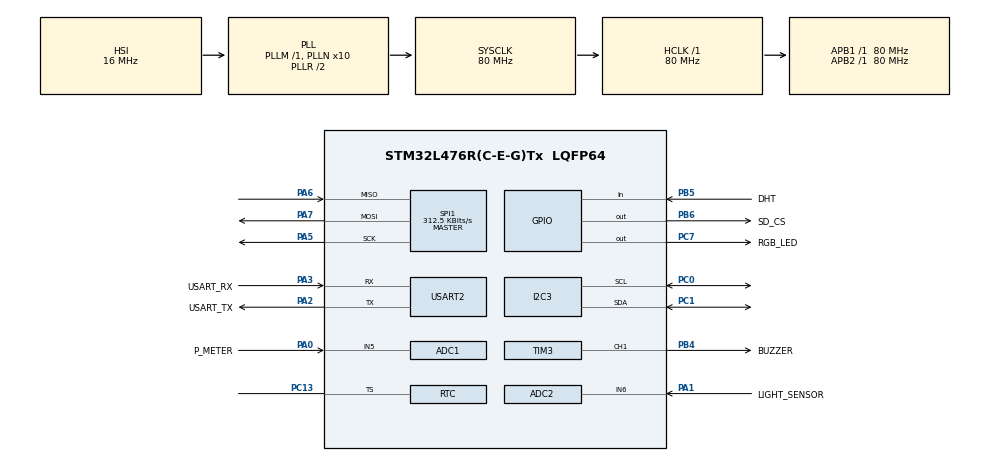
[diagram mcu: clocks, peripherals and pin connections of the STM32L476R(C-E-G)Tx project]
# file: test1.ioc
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ADC1.Channel-0\#ChannelRegularConversion=ADC_CHANNEL_5
ADC1.NbrOfConversionFlag=1
ADC1.OffsetNumber-0\#ChannelRegularConversion=ADC_OFFSET_NONE
ADC1.Rank-0\#ChannelRegularConversion=1
ADC1.SamplingTime-0\#ChannelRegularConversion=ADC_SAMPLETIME_2CYCLES_5
ADC1.master=1
ADC2.Channel-0\#ChannelRegularConversion=ADC_CHANNEL_6
ADC2.NbrOfConversionFlag=1
ADC2.OffsetNumber-0\#ChannelRegularConversion=ADC_OFFSET_NONE
ADC2.Rank-0\#ChannelRegularConversion=1
ADC2.Resolution=ADC_RESOLUTION_8B
ADC2.SamplingTime-0\#ChannelRegularConversion=ADC_SAMPLETIME_2CYCLES_5
Dma.MEMTOMEM.0.Direction=DMA_MEMORY_TO_MEMORY
Dma.MEMTOMEM.0.Instance=DMA1_Channel1
Dma.MEMTOMEM.0.MemDataAlignment=DMA_MDATAALIGN_WORD
Dma.MEMTOMEM.0.MemInc=DMA_MINC_ENABLE
Dma.MEMTOMEM.0.Mode=DMA_NORMAL
Dma.MEMTOMEM.0.PeriphDataAlignment=DMA_PDATAALIGN_WORD
Dma.MEMTOMEM.0.PeriphInc=DMA_PINC_ENABLE
Dma.MEMTOMEM.0.Priority=DMA_PRIORITY_LOW
Dma.Request0=MEMTOMEM
FREERTOS.Queues01=myQueue01,16,uint16_t,0,Dynamic,NULL,NULL
FREERTOS.Tasks01=defaultTask,24,128,StartDefaultTask,Default,NULL,Dynamic,NULL,NULL;DHTask,40,512,StartDHT,Default,NULL,Dynamic,NULL,NULL;saveTask,24,512,StartSave,Default,NULL,Dynamic,NULL,NULL
FREERTOS.configTOTAL_HEAP_SIZE=6000
I2C3.Timing=0x10D19CE4
Mcu.Family=STM32L4
Mcu.Name=STM32L476R(C-E-G)Tx
Mcu.Package=LQFP64
NVIC.ADC1_2_IRQn=true\:5\:0\:false\:false\:true\:true\:true\:true\:true
NVIC.PriorityGroup=NVIC_PRIORITYGROUP_4
NVIC.TIM1_UP_TIM16_IRQn=true\:5\:0\:false\:false\:true\:true\:true\:true\:true
NVIC.TIM6_DAC_IRQn=true\:5\:0\:false\:false\:true\:true\:true\:true\:true
NVIC.TIM7_IRQn=true\:5\:0\:false\:false\:true\:true\:true\:true\:true
NVIC.USART2_IRQn=true\:5\:0\:false\:false\:true\:true\:true\:true\:true
PA0.GPIO_Label=P_METER
PA0.Signal=ADCx_IN5
PA1.GPIO_Label=LIGHT_SENSOR
PA1.Signal=ADCx_IN6
PA13\ (JTMS-SWDIO).GPIO_Label=TMS
PA13\ (JTMS-SWDIO).Mode=Serial_Wire
PA13\ (JTMS-SWDIO).Signal=SYS_JTMS-SWDIO
PA14\ (JTCK-SWCLK).GPIO_Label=TCK
PA14\ (JTCK-SWCLK).Mode=Serial_Wire
PA14\ (JTCK-SWCLK).Signal=SYS_JTCK-SWCLK
PA2.GPIO_Label=USART_TX
PA2.GPIO_Mode=GPIO_MODE_AF_PP
PA2.GPIO_PuPd=GPIO_NOPULL
PA2.GPIO_Speed=GPIO_SPEED_FREQ_VERY_HIGH
PA2.Mode=Asynchronous
PA2.Signal=USART2_TX
PA3.GPIO_Label=USART_RX
PA3.GPIO_Mode=GPIO_MODE_AF_PP
PA3.GPIO_PuPd=GPIO_NOPULL
PA3.GPIO_Speed=GPIO_SPEED_FREQ_VERY_HIGH
PA3.Mode=Asynchronous
PA3.Signal=USART2_RX
PA5.Mode=Full_Duplex_Master
PA5.Signal=SPI1_SCK
PA6.GPIO_PuPd=GPIO_PULLUP
PA6.Mode=Full_Duplex_Master
PA6.Signal=SPI1_MISO
PA7.Mode=Full_Duplex_Master
PA7.Signal=SPI1_MOSI
PB4\ (NJTRST).GPIO_Label=BUZZER
PB4\ (NJTRST).Signal=S_TIM3_CH1
PB5.GPIO_Label=DHT
PB5.Signal=GPIO_Input
PB6.GPIO_Label=SD_CS
PB6.GPIO_PuPd=GPIO_NOPULL
PB6.PinState=GPIO_PIN_SET
PB6.Signal=GPIO_Output
PC0.Mode=I2C
PC0.Signal=I2C3_SCL
PC1.Mode=I2C
PC1.Signal=I2C3_SDA
PC13.Mode=Timestamp enabled
PC13.Signal=RTC_TS
PC14-OSC32_IN\ (PC14).Mode=LSE-External-Oscillator
PC14-OSC32_IN\ (PC14).Signal=RCC_OSC32_IN
PC15-OSC32_OUT\ (PC15).Mode=LSE-External-Oscillator
PC15-OSC32_OUT\ (PC15).Signal=RCC_OSC32_OUT
PC7.GPIO_Label=RGB_LED
PC7.Signal=GPIO_Output
PH0-OSC_IN\ (PH0).Signal=RCC_OSC_IN
PH1-OSC_OUT\ (PH1).Signal=RCC_OSC_OUT
ProjectManager.HeapSize=0x200
ProjectManager.StackSize=0x400
ProjectManager.TargetToolchain=STM32CubeIDE
RCC.ADCFreq_Value=64000000
RCC.AHBFreq_Value=80000000
RCC.APB1Freq_Value=80000000
RCC.APB1TimFreq_Value=80000000
RCC.APB2Freq_Value=80000000
RCC.APB2TimFreq_Value=80000000
RCC.CortexFreq_Value=80000000
RCC.HCLKFreq_Value=80000000
RCC.HSE_VALUE=8000000
RCC.HSI_VALUE=16000000
RCC.MSI_VALUE=4000000
RCC.PLLN=10
RCC.PLLSourceVirtual=RCC_PLLSOURCE_HSI
RCC.PREFETCH_ENABLE=1
RCC.SYSCLKFreq_VALUE=80000000
RCC.SYSCLKSource=RCC_SYSCLKSOURCE_PLLCLK
RCC.USBFreq_Value=64000000
RCC.VCOOutputFreq_Value=160000000
SH.ADCx_IN5.0=ADC1_IN5,IN5-Single-Ended
SH.ADCx_IN6.0=ADC2_IN6,IN6-Single-Ended
SH.S_TIM3_CH1.0=TIM3_CH1,PWM Generation1 CH1
SPI1.BaudRatePrescaler=SPI_BAUDRATEPRESCALER_256
SPI1.CalculateBaudRate=312.5 KBits/s
SPI1.DataSize=SPI_DATASIZE_8BIT
SPI1.Direction=SPI_DIRECTION_2LINES
SPI1.Mode=SPI_MODE_MASTER
SPI1.VirtualType=VM_MASTER
TIM16.AutoReloadPreload=TIM_AUTORELOAD_PRELOAD_ENABLE
TIM16.Period=9999
TIM16.Prescaler=7999
TIM2.Prescaler=79
TIM3.Channel-PWM\ Generation1\ CH1=TIM_CHANNEL_1
TIM3.Period=999
TIM3.Prescaler=79
TIM3.Pulse-PWM\ Generation1\ CH1=9
TIM6.AutoReloadPreload=TIM_AUTORELOAD_PRELOAD_DISABLE
TIM6.Period=9999
TIM6.Prescaler=7999
TIM7.Period=99
TIM7.Prescaler=7999
USART2.VirtualMode-Asynchronous=VM_ASYNC
VP_FATFS_VS_Generic.Mode=User_defined
VP_FREERTOS_VS_CMSIS_V2.Mode=CMSIS_V2
VP_RTC_VS_RTC_Activate.Mode=RTC_Enabled
VP_RTC_VS_RTC_Calendar.Mode=RTC_Calendar
VP_TIM16_VS_ClockSourceINT.Mode=Enable_Timer
VP_TIM2_VS_ClockSourceINT.Mode=Internal
VP_TIM3_VS_ClockSourceINT.Mode=Internal
VP_TIM6_VS_ClockSourceINT.Mode=Enable_Timer
VP_TIM6_VS_OPM.Mode=OPM_bit
VP_TIM7_VS_ClockSourceINT.Mode=Enable_Timer
board=NUCLEO-L476RG

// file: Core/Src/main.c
/* USER CODE BEGIN Header */
/**
  ******************************************************************************
  * @file           : main.c
  * @brief          : Main program body
  ******************************************************************************
  * @attention
  *
  * Copyright (c) 2026 STMicroelectronics.
  * All rights reserved.
  *
  * This software is licensed under terms that can be found in the LICENSE file
  * in the root directory of this software component.
  * If no LICENSE file comes with this software, it is provided AS-IS.
  *
  ******************************************************************************
  */
/* USER CODE END Header */
#include "main.h"
#include "cmsis_os.h"
#include "fatfs.h"

/* USER CODE BEGIN Includes */
#include <stdio.h>
#include <stdlib.h>
#include <string.h>
#include <stdarg.h> //for va_list var arg functions
#include "basics.h"
#include "../shared/Buzzer.h"
#include "../shared/rtc_ds1307_I2C.h"
#include "../shared/datetime.h"
#include "../shared/dht2.h"
#include "../shared/sdfatfs.h"

//#include "../shared/uart_queue.h"
//#include "../shared/TimerTasks.h"
//#include "../shared/msgQueueEx.h"

/* USER CODE END Includes */

/* USER CODE BEGIN PTD */
//extern Queue * queue;

/* USER CODE END PTD */

ADC_HandleTypeDef hadc1;
ADC_HandleTypeDef hadc2;

I2C_HandleTypeDef hi2c3;

RTC_HandleTypeDef hrtc;

SPI_HandleTypeDef hspi1;

TIM_HandleTypeDef htim2;
TIM_HandleTypeDef htim3;
TIM_HandleTypeDef htim6;
TIM_HandleTypeDef htim7;
TIM_HandleTypeDef htim16;

UART_HandleTypeDef huart2;

DMA_HandleTypeDef hdma_memtomem_dma1_channel1;
/* Definitions for defaultTask */
osThreadId_t defaultTaskHandle;
const osThreadAttr_t defaultTask_attributes = {
  .name = "defaultTask",
  .stack_size = 128 * 4,
  .priority = (osPriority_t) osPriorityNormal,
};
/* Definitions for DHTask */
osThreadId_t DHTaskHandle;
const osThreadAttr_t DHTask_attributes = {
  .name = "DHTask",
  .stack_size = 512 * 4,
  .priority = (osPriority_t) osPriorityHigh,
};
/* Definitions for saveTask */
osThreadId_t saveTaskHandle;
const osThreadAttr_t saveTask_attributes = {
  .name = "saveTask",
  .stack_size = 512 * 4,
  .priority = (osPriority_t) osPriorityNormal,
};
/* Definitions for myQueue01 */
osMessageQueueId_t myQueue01Handle;
const osMessageQueueAttr_t myQueue01_attributes = {
  .name = "myQueue01"
};
/* USER CODE BEGIN PV */

Buzzer_Handle *buzzer = NULL;
DateTime* g_dt = NULL;

//#define DHT_TASK    0x01   // bit 0
//#define PRINT_TASK  0x02   // bit 1
//#define FLAG_TASK3  0x04   // bit 2
//
//#define FLAG_DONE1  0x08
//#define FLAG_DONE2  0x10
//#define FLAG_DONE3  0x20
//
//#define SET_RTC_TIME    0   // set to 1 only when you want to (re)write the clock
//
///* Notification IDs sent from ISRs to DhtTask, distinguishing the two sources */
//#define NOTIF_FROM_BUTTON  0x01u
//#define NOTIF_FROM_TIMER   0x02u

/* Queue message: what DhtTask sends to PrintTask */
typedef enum { MSG_TEMPERATURE, MSG_HUMIDITY } DHT_MsgType_t;
//
typedef struct {
    DHT_MsgType_t type;
    uint8_t       int_part;
    uint8_t       dec_part;
} DHT_QueueMsg_t;

static DHT_Handle *dht = NULL;
DHT_Data dht_data = {0};

uint8_t rx_byte;

/* USER CODE END PV */

void SystemClock_Config(void);
void PeriphCommonClock_Config(void);
static void MX_GPIO_Init(void);
static void MX_DMA_Init(void);
static void MX_USART2_UART_Init(void);
static void MX_TIM6_Init(void);
static void MX_TIM16_Init(void);
static void MX_TIM2_Init(void);
static void MX_TIM7_Init(void);
static void MX_TIM3_Init(void);
static void MX_ADC1_Init(void);
static void MX_ADC2_Init(void);
static void MX_I2C3_Init(void);
static void MX_RTC_Init(void);
static void MX_SPI1_Init(void);
void StartDefaultTask(void *argument);
void StartDHT(void *argument);
void StartSave(void *argument);

/* USER CODE BEGIN PFP */
void SD_FatFs_Test(void);
/* USER CODE END PFP */

/* USER CODE BEGIN 0 */
// call ONCE to set the clock, then comment out and reflash

/* USER CODE END 0 */

int main(void)
{

  /* MCU Configuration--------------------------------------------------------*/

  /* Reset of all peripherals, Initializes the Flash interface and the Systick. */
  HAL_Init();

  /* Configure the system clock */
  SystemClock_Config();

  /* Configure the peripherals common clocks */
  PeriphCommonClock_Config();

  /* Initialize all configured peripherals */
  MX_GPIO_Init();
  MX_DMA_Init();
  MX_USART2_UART_Init();
  MX_TIM6_Init();
  MX_TIM16_Init();
  MX_TIM2_Init();
  MX_TIM7_Init();
  MX_TIM3_Init();
  MX_ADC1_Init();
  MX_ADC2_Init();
  MX_I2C3_Init();
  MX_RTC_Init();
  MX_SPI1_Init();
  MX_FATFS_Init();
  /* USER CODE BEGIN 2 */
  /* TIM2: free-running 1us counter used by the DHT11 driver for bit timing.
     Non-interrupt start — we only ever poll its CNT register. */
  HAL_TIM_Base_Start(&htim2);

#if SET_RTC_TIME
  RTC_Time_t setTime = {.sec=0, .min=21, .hour=17, .dow=4, .date=8, .month=7, .year=26};
  RTC_SetTime(&hi2c3, &setTime);
#endif

//  SD_FatFs_Test();

     // Set an initial time/date once (only needed the first time,
//     // or whenever the backup domain loses power / gets reset)
//     DateTime_SetTime(g_dt, 14,14, 0);        // 14:30:00
//     DateTime_SetDate(g_dt, 26, 7, 12, 1);      // 2026/07/09, weekday 4 (Thursday)
//     DateTime_WriteToRTC(g_dt);

  /* USER CODE END 2 */

  /* Init scheduler */
  osKernelInitialize();

  /* USER CODE BEGIN RTOS_MUTEX */
//  /* add mutexes, ... */
  /* USER CODE END RTOS_MUTEX */

  /* USER CODE BEGIN RTOS_SEMAPHORES */
//  /* add semaphores, ... */
  /* USER CODE END RTOS_SEMAPHORES */

  /* USER CODE BEGIN RTOS_TIMERS */
//  /* start timers, add new ones, ... */
  /* USER CODE END RTOS_TIMERS */

  /* Create the queue(s) */
  /* creation of myQueue01 */
  myQueue01Handle = osMessageQueueNew (16, sizeof(uint16_t), &myQueue01_attributes);

  /* USER CODE BEGIN RTOS_QUEUES */
//  /* add queues, ... */
  /* USER CODE END RTOS_QUEUES */

  /* Create the thread(s) */
  /* creation of defaultTask */
  defaultTaskHandle = osThreadNew(StartDefaultTask, NULL, &defaultTask_attributes);

  /* creation of DHTask */
  DHTaskHandle = osThreadNew(StartDHT, NULL, &DHTask_attributes);

  /* creation of saveTask */
  saveTaskHandle = osThreadNew(StartSave, NULL, &saveTask_attributes);

  /* USER CODE BEGIN RTOS_THREADS */
//  /* add threads, ... */
  /* USER CODE END RTOS_THREADS */

  /* USER CODE BEGIN RTOS_EVENTS */
//  /* add events, ... */
  /* USER CODE END RTOS_EVENTS */

  /* Start scheduler */
  osKernelStart();

  /* We should never get here as control is now taken by the scheduler */

  /* Infinite loop */
  while (1)
  {

    /* USER CODE BEGIN 3 */
    // --- Your Application Code Lives Here ---
//	  RTC_Time_t now;
//	  if (RTC_GetTime(&hi2c3, &now) == HAL_OK)
//	  {
//	      printf("Time: %02u:%02u:%02u  Date: %02u/%02u/20%02u  day:%u\r\n",
//	             now.hour, now.min, now.sec, now.date, now.month, now.year, now.dow);
//	  }

//	  for (int i = 0; i < 10; i++)
//	      {
//	          HAL_Delay(100);
////	          HAL_IWDG_Refresh(&hiwdg);
//	      }
//	  printf("Counter: %d\r\n", c++);

    // turn_red_light_with_button();
    // basic_uart_turn_lights_by_message_from_console();

    // HAL_ADC_Start(&hadc1);
    // HAL_ADC_PollForConversion(&hadc1, HAL_MAX_DELAY);
    // raw_value_rotation = HAL_ADC_GetValue(&hadc1);
    // HAL_ADC_Stop(&hadc1);

    // HAL_ADC_Start(&hadc2);
    // HAL_ADC_PollForConversion(&hadc2, HAL_MAX_DELAY);
    // raw_value_light = HAL_ADC_GetValue(&hadc2);
    // HAL_ADC_Stop(&hadc2);

    // duty_cycle = (raw_value_light * 999) / 255;
    // __HAL_TIM_SET_COMPARE(&htim3, TIM_CHANNEL_1, duty_cycle);
  }
  /* USER CODE END 3 */
}

void SystemClock_Config(void)
{
  RCC_OscInitTypeDef RCC_OscInitStruct = {0};
  RCC_ClkInitTypeDef RCC_ClkInitStruct = {0};

  /** Configure the main internal regulator output voltage
  */
  if (HAL_PWREx_ControlVoltageScaling(PWR_REGULATOR_VOLTAGE_SCALE1) != HAL_OK)
  {
    Error_Handler();
  }

  /** Initializes the RCC Oscillators according to the specified parameters
  * in the RCC_OscInitTypeDef structure.
  */
  RCC_OscInitStruct.OscillatorType = RCC_OSCILLATORTYPE_HSI|RCC_OSCILLATORTYPE_LSI;
  RCC_OscInitStruct.HSIState = RCC_HSI_ON;
  RCC_OscInitStruct.HSICalibrationValue = RCC_HSICALIBRATION_DEFAULT;
  RCC_OscInitStruct.LSIState = RCC_LSI_ON;
  RCC_OscInitStruct.PLL.PLLState = RCC_PLL_ON;
  RCC_OscInitStruct.PLL.PLLSource = RCC_PLLSOURCE_HSI;
  RCC_OscInitStruct.PLL.PLLM = 1;
  RCC_OscInitStruct.PLL.PLLN = 10;
  RCC_OscInitStruct.PLL.PLLP = RCC_PLLP_DIV7;
  RCC_OscInitStruct.PLL.PLLQ = RCC_PLLQ_DIV2;
  RCC_OscInitStruct.PLL.PLLR = RCC_PLLR_DIV2;
  if (HAL_RCC_OscConfig(&RCC_OscInitStruct) != HAL_OK)
  {
    Error_Handler();
  }

  /** Initializes the CPU, AHB and APB buses clocks
  */
  RCC_ClkInitStruct.ClockType = RCC_CLOCKTYPE_HCLK|RCC_CLOCKTYPE_SYSCLK
                              |RCC_CLOCKTYPE_PCLK1|RCC_CLOCKTYPE_PCLK2;
  RCC_ClkInitStruct.SYSCLKSource = RCC_SYSCLKSOURCE_PLLCLK;
  RCC_ClkInitStruct.AHBCLKDivider = RCC_SYSCLK_DIV1;
  RCC_ClkInitStruct.APB1CLKDivider = RCC_HCLK_DIV1;
  RCC_ClkInitStruct.APB2CLKDivider = RCC_HCLK_DIV1;

  if (HAL_RCC_ClockConfig(&RCC_ClkInitStruct, FLASH_LATENCY_4) != HAL_OK)
  {
    Error_Handler();
  }
}

void PeriphCommonClock_Config(void)
{
  RCC_PeriphCLKInitTypeDef PeriphClkInit = {0};

  /** Initializes the peripherals clock
  */
  PeriphClkInit.PeriphClockSelection = RCC_PERIPHCLK_ADC;
  PeriphClkInit.AdcClockSelection = RCC_ADCCLKSOURCE_PLLSAI1;
  PeriphClkInit.PLLSAI1.PLLSAI1Source = RCC_PLLSOURCE_HSI;
  PeriphClkInit.PLLSAI1.PLLSAI1M = 1;
  PeriphClkInit.PLLSAI1.PLLSAI1N = 8;
  PeriphClkInit.PLLSAI1.PLLSAI1P = RCC_PLLP_DIV7;
  PeriphClkInit.PLLSAI1.PLLSAI1Q = RCC_PLLQ_DIV2;
  PeriphClkInit.PLLSAI1.PLLSAI1R = RCC_PLLR_DIV2;
  PeriphClkInit.PLLSAI1.PLLSAI1ClockOut = RCC_PLLSAI1_ADC1CLK;
  if (HAL_RCCEx_PeriphCLKConfig(&PeriphClkInit) != HAL_OK)
  {
    Error_Handler();
  }
}

static void MX_ADC1_Init(void)
{

  ADC_MultiModeTypeDef multimode = {0};
  ADC_ChannelConfTypeDef sConfig = {0};

  /** Common config
  */
  hadc1.Instance = ADC1;
  hadc1.Init.ClockPrescaler = ADC_CLOCK_ASYNC_DIV1;
  hadc1.Init.Resolution = ADC_RESOLUTION_12B;
  hadc1.Init.DataAlign = ADC_DATAALIGN_RIGHT;
  hadc1.Init.ScanConvMode = ADC_SCAN_DISABLE;
  hadc1.Init.EOCSelection = ADC_EOC_SINGLE_CONV;
  hadc1.Init.LowPowerAutoWait = DISABLE;
  hadc1.Init.ContinuousConvMode = DISABLE;
  hadc1.Init.NbrOfConversion = 1;
  hadc1.Init.DiscontinuousConvMode = DISABLE;
  hadc1.Init.ExternalTrigConv = ADC_SOFTWARE_START;
  hadc1.Init.ExternalTrigConvEdge = ADC_EXTERNALTRIGCONVEDGE_NONE;
  hadc1.Init.DMAContinuousRequests = DISABLE;
  hadc1.Init.Overrun = ADC_OVR_DATA_PRESERVED;
  hadc1.Init.OversamplingMode = DISABLE;
  if (HAL_ADC_Init(&hadc1) != HAL_OK)
  {
    Error_Handler();
  }

  /** Configure the ADC multi-mode
  */
  multimode.Mode = ADC_MODE_INDEPENDENT;
  if (HAL_ADCEx_MultiModeConfigChannel(&hadc1, &multimode) != HAL_OK)
  {
    Error_Handler();
  }

  /** Configure Regular Channel
  */
  sConfig.Channel = ADC_CHANNEL_5;
  sConfig.Rank = ADC_REGULAR_RANK_1;
  sConfig.SamplingTime = ADC_SAMPLETIME_2CYCLES_5;
  sConfig.SingleDiff = ADC_SINGLE_ENDED;
  sConfig.OffsetNumber = ADC_OFFSET_NONE;
  sConfig.Offset = 0;
  if (HAL_ADC_ConfigChannel(&hadc1, &sConfig) != HAL_OK)
  {
    Error_Handler();
  }

}

static void MX_ADC2_Init(void)
{

  ADC_ChannelConfTypeDef sConfig = {0};

  /** Common config
  */
  hadc2.Instance = ADC2;
  hadc2.Init.ClockPrescaler = ADC_CLOCK_ASYNC_DIV1;
  hadc2.Init.Resolution = ADC_RESOLUTION_8B;
  hadc2.Init.DataAlign = ADC_DATAALIGN_RIGHT;
  hadc2.Init.ScanConvMode = ADC_SCAN_DISABLE;
  hadc2.Init.EOCSelection = ADC_EOC_SINGLE_CONV;
  hadc2.Init.LowPowerAutoWait = DISABLE;
  hadc2.Init.ContinuousConvMode = DISABLE;
  hadc2.Init.NbrOfConversion = 1;
  hadc2.Init.DiscontinuousConvMode = DISABLE;
  hadc2.Init.ExternalTrigConv = ADC_SOFTWARE_START;
  hadc2.Init.ExternalTrigConvEdge = ADC_EXTERNALTRIGCONVEDGE_NONE;
  hadc2.Init.DMAContinuousRequests = DISABLE;
  hadc2.Init.Overrun = ADC_OVR_DATA_PRESERVED;
  hadc2.Init.OversamplingMode = DISABLE;
  if (HAL_ADC_Init(&hadc2) != HAL_OK)
  {
    Error_Handler();
  }

  /** Configure Regular Channel
  */
  sConfig.Channel = ADC_CHANNEL_6;
  sConfig.Rank = ADC_REGULAR_RANK_1;
  sConfig.SamplingTime = ADC_SAMPLETIME_2CYCLES_5;
  sConfig.SingleDiff = ADC_SINGLE_ENDED;
  sConfig.OffsetNumber = ADC_OFFSET_NONE;
  sConfig.Offset = 0;
  if (HAL_ADC_ConfigChannel(&hadc2, &sConfig) != HAL_OK)
  {
    Error_Handler();
  }

}

static void MX_I2C3_Init(void)
{

  hi2c3.Instance = I2C3;
  hi2c3.Init.Timing = 0x10D19CE4;
  hi2c3.Init.OwnAddress1 = 0;
  hi2c3.Init.AddressingMode = I2C_ADDRESSINGMODE_7BIT;
  hi2c3.Init.DualAddressMode = I2C_DUALADDRESS_DISABLE;
  hi2c3.Init.OwnAddress2 = 0;
  hi2c3.Init.OwnAddress2Masks = I2C_OA2_NOMASK;
  hi2c3.Init.GeneralCallMode = I2C_GENERALCALL_DISABLE;
  hi2c3.Init.NoStretchMode = I2C_NOSTRETCH_DISABLE;
  if (HAL_I2C_Init(&hi2c3) != HAL_OK)
  {
    Error_Handler();
  }

  /** Configure Analogue filter
  */
  if (HAL_I2CEx_ConfigAnalogFilter(&hi2c3, I2C_ANALOGFILTER_ENABLE) != HAL_OK)
  {
    Error_Handler();
  }

  /** Configure Digital filter
  */
  if (HAL_I2CEx_ConfigDigitalFilter(&hi2c3, 0) != HAL_OK)
  {
    Error_Handler();
  }

}

static void MX_RTC_Init(void)
{

  RTC_TimeTypeDef sTime = {0};
  RTC_DateTypeDef sDate = {0};

  /** Initialize RTC Only
  */
  hrtc.Instance = RTC;
  hrtc.Init.HourFormat = RTC_HOURFORMAT_24;
  hrtc.Init.AsynchPrediv = 127;
  hrtc.Init.SynchPrediv = 255;
  hrtc.Init.OutPut = RTC_OUTPUT_DISABLE;
  hrtc.Init.OutPutRemap = RTC_OUTPUT_REMAP_NONE;
  hrtc.Init.OutPutPolarity = RTC_OUTPUT_POLARITY_HIGH;
  hrtc.Init.OutPutType = RTC_OUTPUT_TYPE_OPENDRAIN;
  if (HAL_RTC_Init(&hrtc) != HAL_OK)
  {
    Error_Handler();
  }

  /** Initialize RTC and set the Time and Date
  */
  sTime.Hours = 0x0;
  sTime.Minutes = 0x0;
  sTime.Seconds = 0x0;
  sTime.DayLightSaving = RTC_DAYLIGHTSAVING_NONE;
  sTime.StoreOperation = RTC_STOREOPERATION_RESET;
  if (HAL_RTC_SetTime(&hrtc, &sTime, RTC_FORMAT_BCD) != HAL_OK)
  {
    Error_Handler();
  }
  sDate.WeekDay = RTC_WEEKDAY_MONDAY;
  sDate.Month = RTC_MONTH_JANUARY;
  sDate.Date = 0x1;
  sDate.Year = 0x0;

  if (HAL_RTC_SetDate(&hrtc, &sDate, RTC_FORMAT_BCD) != HAL_OK)
  {
    Error_Handler();
  }

  /** Enable the TimeStamp
  */
  if (HAL_RTCEx_SetTimeStamp(&hrtc, RTC_TIMESTAMPEDGE_RISING, RTC_TIMESTAMPPIN_DEFAULT) != HAL_OK)
  {
    Error_Handler();
  }

}

static void MX_SPI1_Init(void)
{

  /* SPI1 parameter configuration*/
  hspi1.Instance = SPI1;
  hspi1.Init.Mode = SPI_MODE_MASTER;
  hspi1.Init.Direction = SPI_DIRECTION_2LINES;
  hspi1.Init.DataSize = SPI_DATASIZE_8BIT;
  hspi1.Init.CLKPolarity = SPI_POLARITY_LOW;
  hspi1.Init.CLKPhase = SPI_PHASE_1EDGE;
  hspi1.Init.NSS = SPI_NSS_SOFT;
  hspi1.Init.BaudRatePrescaler = SPI_BAUDRATEPRESCALER_256;
  hspi1.Init.FirstBit = SPI_FIRSTBIT_MSB;
  hspi1.Init.TIMode = SPI_TIMODE_DISABLE;
  hspi1.Init.CRCCalculation = SPI_CRCCALCULATION_DISABLE;
  hspi1.Init.CRCPolynomial = 7;
  hspi1.Init.CRCLength = SPI_CRC_LENGTH_DATASIZE;
  hspi1.Init.NSSPMode = SPI_NSS_PULSE_ENABLE;
  if (HAL_SPI_Init(&hspi1) != HAL_OK)
  {
    Error_Handler();
  }

}

static void MX_TIM2_Init(void)
{

  TIM_ClockConfigTypeDef sClockSourceConfig = {0};
  TIM_MasterConfigTypeDef sMasterConfig = {0};

  htim2.Instance = TIM2;
  htim2.Init.Prescaler = 79;
  htim2.Init.CounterMode = TIM_COUNTERMODE_UP;
  htim2.Init.Period = 4294967295;
  htim2.Init.ClockDivision = TIM_CLOCKDIVISION_DIV1;
  htim2.Init.AutoReloadPreload = TIM_AUTORELOAD_PRELOAD_DISABLE;
  if (HAL_TIM_Base_Init(&htim2) != HAL_OK)
  {
    Error_Handler();
  }
  sClockSourceConfig.ClockSource = TIM_CLOCKSOURCE_INTERNAL;
  if (HAL_TIM_ConfigClockSource(&htim2, &sClockSourceConfig) != HAL_OK)
  {
    Error_Handler();
  }
  sMasterConfig.MasterOutputTrigger = TIM_TRGO_RESET;
  sMasterConfig.MasterSlaveMode = TIM_MASTERSLAVEMODE_DISABLE;
  if (HAL_TIMEx_MasterConfigSynchronization(&htim2, &sMasterConfig) != HAL_OK)
  {
    Error_Handler();
  }

}

static void MX_TIM3_Init(void)
{

  TIM_ClockConfigTypeDef sClockSourceConfig = {0};
  TIM_MasterConfigTypeDef sMasterConfig = {0};
  TIM_OC_InitTypeDef sConfigOC = {0};

  htim3.Instance = TIM3;
  htim3.Init.Prescaler = 79;
  htim3.Init.CounterMode = TIM_COUNTERMODE_UP;
  htim3.Init.Period = 999;
  htim3.Init.ClockDivision = TIM_CLOCKDIVISION_DIV1;
  htim3.Init.AutoReloadPreload = TIM_AUTORELOAD_PRELOAD_DISABLE;
  if (HAL_TIM_Base_Init(&htim3) != HAL_OK)
  {
    Error_Handler();
  }
  sClockSourceConfig.ClockSource = TIM_CLOCKSOURCE_INTERNAL;
  if (HAL_TIM_ConfigClockSource(&htim3, &sClockSourceConfig) != HAL_OK)
  {
    Error_Handler();
  }
  if (HAL_TIM_PWM_Init(&htim3) != HAL_OK)
  {
    Error_Handler();
  }
  sMasterConfig.MasterOutputTrigger = TIM_TRGO_RESET;
  sMasterConfig.MasterSlaveMode = TIM_MASTERSLAVEMODE_DISABLE;
  if (HAL_TIMEx_MasterConfigSynchronization(&htim3, &sMasterConfig) != HAL_OK)
  {
    Error_Handler();
  }
  sConfigOC.OCMode = TIM_OCMODE_PWM1;
  sConfigOC.Pulse = 9;
  sConfigOC.OCPolarity = TIM_OCPOLARITY_HIGH;
  sConfigOC.OCFastMode = TIM_OCFAST_DISABLE;
  if (HAL_TIM_PWM_ConfigChannel(&htim3, &sConfigOC, TIM_CHANNEL_1) != HAL_OK)
  {
    Error_Handler();
  }
  HAL_TIM_MspPostInit(&htim3);

}

static void MX_TIM6_Init(void)
{

  TIM_MasterConfigTypeDef sMasterConfig = {0};

  htim6.Instance = TIM6;
  htim6.Init.Prescaler = 7999;
  htim6.Init.CounterMode = TIM_COUNTERMODE_UP;
  htim6.Init.Period = 9999;
  htim6.Init.AutoReloadPreload = TIM_AUTORELOAD_PRELOAD_DISABLE;
  if (HAL_TIM_Base_Init(&htim6) != HAL_OK)
  {
    Error_Handler();
  }
  if (HAL_TIM_OnePulse_Init(&htim6, TIM_OPMODE_SINGLE) != HAL_OK)
  {
    Error_Handler();
  }
  sMasterConfig.MasterOutputTrigger = TIM_TRGO_RESET;
  sMasterConfig.MasterSlaveMode = TIM_MASTERSLAVEMODE_DISABLE;
  if (HAL_TIMEx_MasterConfigSynchronization(&htim6, &sMasterConfig) != HAL_OK)
  {
    Error_Handler();
  }

}

static void MX_TIM7_Init(void)
{

  TIM_MasterConfigTypeDef sMasterConfig = {0};

  htim7.Instance = TIM7;
  htim7.Init.Prescaler = 7999;
  htim7.Init.CounterMode = TIM_COUNTERMODE_UP;
  htim7.Init.Period = 99;
  htim7.Init.AutoReloadPreload = TIM_AUTORELOAD_PRELOAD_DISABLE;
  if (HAL_TIM_Base_Init(&htim7) != HAL_OK)
  {
    Error_Handler();
  }
  sMasterConfig.MasterOutputTrigger = TIM_TRGO_RESET;
  sMasterConfig.MasterSlaveMode = TIM_MASTERSLAVEMODE_DISABLE;
  if (HAL_TIMEx_MasterConfigSynchronization(&htim7, &sMasterConfig) != HAL_OK)
  {
    Error_Handler();
  }

}

static void MX_TIM16_Init(void)
{

  htim16.Instance = TIM16;
  htim16.Init.Prescaler = 7999;
  htim16.Init.CounterMode = TIM_COUNTERMODE_UP;
  htim16.Init.Period = 9999;
  htim16.Init.ClockDivision = TIM_CLOCKDIVISION_DIV1;
  htim16.Init.RepetitionCounter = 0;
  htim16.Init.AutoReloadPreload = TIM_AUTORELOAD_PRELOAD_ENABLE;
  if (HAL_TIM_Base_Init(&htim16) != HAL_OK)
  {
    Error_Handler();
  }

}

static void MX_USART2_UART_Init(void)
{

  huart2.Instance = USART2;
  huart2.Init.BaudRate = 115200;
  huart2.Init.WordLength = UART_WORDLENGTH_8B;
  huart2.Init.StopBits = UART_STOPBITS_1;
  huart2.Init.Parity = UART_PARITY_NONE;
  huart2.Init.Mode = UART_MODE_TX_RX;
  huart2.Init.HwFlowCtl = UART_HWCONTROL_NONE;
  huart2.Init.OverSampling = UART_OVERSAMPLING_16;
  huart2.Init.OneBitSampling = UART_ONE_BIT_SAMPLE_DISABLE;
  huart2.AdvancedInit.AdvFeatureInit = UART_ADVFEATURE_NO_INIT;
  if (HAL_UART_Init(&huart2) != HAL_OK)
  {
    Error_Handler();
  }

}

static void MX_DMA_Init(void)
{

  /* DMA controller clock enable */
  __HAL_RCC_DMA1_CLK_ENABLE();

  /* Configure DMA request hdma_memtomem_dma1_channel1 on DMA1_Channel1 */
  hdma_memtomem_dma1_channel1.Instance = DMA1_Channel1;
  hdma_memtomem_dma1_channel1.Init.Request = DMA_REQUEST_0;
  hdma_memtomem_dma1_channel1.Init.Direction = DMA_MEMORY_TO_MEMORY;
  hdma_memtomem_dma1_channel1.Init.PeriphInc = DMA_PINC_ENABLE;
  hdma_memtomem_dma1_channel1.Init.MemInc = DMA_MINC_ENABLE;
  hdma_memtomem_dma1_channel1.Init.PeriphDataAlignment = DMA_PDATAALIGN_WORD;
  hdma_memtomem_dma1_channel1.Init.MemDataAlignment = DMA_MDATAALIGN_WORD;
  hdma_memtomem_dma1_channel1.Init.Mode = DMA_NORMAL;
  hdma_memtomem_dma1_channel1.Init.Priority = DMA_PRIORITY_LOW;
  if (HAL_DMA_Init(&hdma_memtomem_dma1_channel1) != HAL_OK)
  {
    Error_Handler( );
  }

}

static void MX_GPIO_Init(void)
{
  GPIO_InitTypeDef GPIO_InitStruct = {0};

  /* GPIO Ports Clock Enable */
  __HAL_RCC_GPIOC_CLK_ENABLE();
  __HAL_RCC_GPIOH_CLK_ENABLE();
  __HAL_RCC_GPIOA_CLK_ENABLE();
  __HAL_RCC_GPIOB_CLK_ENABLE();

  /*Configure GPIO pin Output Level */
  HAL_GPIO_WritePin(RGB_LED_GPIO_Port, RGB_LED_Pin, GPIO_PIN_RESET);

  /*Configure GPIO pin Output Level */
  HAL_GPIO_WritePin(SD_CS_GPIO_Port, SD_CS_Pin, GPIO_PIN_SET);

  /*Configure GPIO pin : RGB_LED_Pin */
  GPIO_InitStruct.Pin = RGB_LED_Pin;
  GPIO_InitStruct.Mode = GPIO_MODE_OUTPUT_PP;
  GPIO_InitStruct.Pull = GPIO_NOPULL;
  GPIO_InitStruct.Speed = GPIO_SPEED_FREQ_LOW;
  HAL_GPIO_Init(RGB_LED_GPIO_Port, &GPIO_InitStruct);

  /*Configure GPIO pin : DHT_Pin */
  GPIO_InitStruct.Pin = DHT_Pin;
  GPIO_InitStruct.Mode = GPIO_MODE_INPUT;
  GPIO_InitStruct.Pull = GPIO_NOPULL;
  HAL_GPIO_Init(DHT_GPIO_Port, &GPIO_InitStruct);

  /*Configure GPIO pin : SD_CS_Pin */
  GPIO_InitStruct.Pin = SD_CS_Pin;
  GPIO_InitStruct.Mode = GPIO_MODE_OUTPUT_PP;
  GPIO_InitStruct.Pull = GPIO_NOPULL;
  GPIO_InitStruct.Speed = GPIO_SPEED_FREQ_LOW;
  HAL_GPIO_Init(SD_CS_GPIO_Port, &GPIO_InitStruct);

}

/* USER CODE BEGIN 4 */
/* USER CODE BEGIN 4 */

void SD_FatFs_Test(void)
{
  static FATFS FatFs;
  FIL fil;
  UINT bytesWrote;
  char line[64];
  const char *msg = "hello world raz\r\n";

  HAL_Delay(1000);

  FRESULT fres = f_mount(&FatFs, "", 1);
  if (fres != FR_OK) {
    printf("SD mount failed (%i)\r\n", fres);
    return;
  }

  if (f_open(&fil, "hello.txt", FA_WRITE | FA_CREATE_ALWAYS) != FR_OK) {
    printf("SD open failed\r\n");
    f_mount(NULL, "", 0);
    return;
  }

  fres = f_write(&fil, msg, strlen(msg), &bytesWrote);
  f_close(&fil);
  if (fres != FR_OK) {
    printf("SD write failed (%i)\r\n", fres);
    f_mount(NULL, "", 0);
    return;
  }
  printf("Wrote %u bytes\r\n", bytesWrote);

  if (f_open(&fil, "hello.txt", FA_READ) != FR_OK) {
    printf("SD read-open failed\r\n");
    f_mount(NULL, "", 0);
    return;
  }

  while (f_gets(line, sizeof(line), &fil)) {
    printf("%s", line);
  }

  f_close(&fil);
  f_mount(NULL, "", 0);

  printf("SD test complete\r\n");
}

#include <string.h>
#include "stm32l4xx_hal.h"

#define FLASH_USER_ADDR   0x080FF800U   // last 2KB page of 1MB flash on STM32L476RG

void Flash_WriteString(uint32_t address, char *str)
{
    // Step 1: Unlock flash — it's write-protected by default.
    // HAL_FLASH_Unlock() handles the internal key-sequence for you.
    HAL_FLASH_Unlock();

    // Step 2: Erase the page first.
    // Flash can only flip bits 1->0 when programming. To get back to a
    // clean slate (all 1s) you must erase the whole page beforehand.
    FLASH_EraseInitTypeDef EraseInitStruct;
    uint32_t PageError = 0;

    EraseInitStruct.TypeErase = FLASH_TYPEERASE_PAGES;
    EraseInitStruct.Banks     = FLASH_BANK_2;   // last page falls in bank 2 on a 1MB part
    EraseInitStruct.Page      = 255;            // page index within that bank
    EraseInitStruct.NbPages   = 1;

    if (HAL_FLASHEx_Erase(&EraseInitStruct, &PageError) != HAL_OK)
    {
        HAL_FLASH_Lock();
        Error_Handler();   // PageError tells you which page failed, if nonzero
    }

    // Step 3: Program the string, 8 bytes (one "double word") at a time.
    // The L4 flash peripheral only accepts writes in 8-byte chunks.
    int len = strlen(str) + 1;   // +1 to include the null terminator '\0'
    uint32_t addr = address;

    // Outer loop: picks which group of 8 bytes we're on, and which
    // flash address that group goes to.
    for (int i = 0; i < len; i += 8)
    {
        // A union: u.bytes and u.dword are the SAME 8 bytes of memory,
        // just viewed two different ways. Writing to u.bytes[j] also
        // changes u.dword — no copying needed.
        union {
            uint64_t dword;
            uint8_t  bytes[8];
        } u;

        // Reset to "erased" value (all 1 bits) before filling this group.
        // Anything we don't overwrite below stays as 0xFF.
        u.dword = 0xFFFFFFFFFFFFFFFF;

        // Inner loop: fills this one group's 8 slots (or fewer, if the
        // string runs out first).
        for (int j = 0; j < 8 && (i + j) < len; j++)
        {
            u.bytes[j] = str[i + j];
        }

        // Ship this group of 8 bytes to flash as one 64-bit write.
        HAL_FLASH_Program(FLASH_TYPEPROGRAM_DOUBLEWORD, addr, u.dword);

        // Move to the next 8-byte address for the next group.
        addr += 8;
    }

    // Step 4: Re-lock flash so nothing else can accidentally write to it.
    HAL_FLASH_Lock();
}
/* USER CODE END 4 */

void StartDefaultTask(void *argument)
{
  for(;;)
  {
    osDelay(1);
  }
}

void StartDHT(void *argument)
{
  /* USER CODE BEGIN StartDHT */
	dht = DHT_Create(DHT_GPIO_Port,DHT_Pin,&htim2);
			if (!dht) {
				printf("dht == null");
			}
			DHT_Result result;
  /* Infinite loop */
  for(;;)
  {
	  		 DHT_Result result = DHT_Read(dht, &dht_data);
	  		if (result == DHT_NO_RESPONSE){
	  		        printf("DHT: No response\r\n");}
	  		    else if (result == DHT_CHECKSUM_ERROR){
	  		        printf("DHT: Checksum error\r\n");}
	  		    else
	  		        {printf("DHT: Read OK\r\n");}
	  		osMessageQueuePut(myQueue01Handle, &dht_data, 0, osWaitForever);

    osDelay(3000);
  }
  /* USER CODE END StartDHT */
}

void StartSave(void *argument)
{
  /* USER CODE BEGIN StartSave */
  DHT_Data received;
  char line[64];

  /* Infinite loop */
  for(;;)
  {
    if (osMessageQueueGet(myQueue01Handle, &received, NULL, osWaitForever) == osOK)
    {
      snprintf(line, sizeof(line), "T:%u.%u H:%u.%u\r\n",
               received.temperature_int, received.temperature_dec,
               received.humidity_int, received.humidity_dec);

      SDFatFS_SaveString("dht_log.txt", line);
      SDFatFS_PrintFile("dht_log.txt");
    }
  }
  /* USER CODE END StartSave */
}

void Error_Handler(void)
{
  __disable_irq();
  while (1)
  {
  }
}
